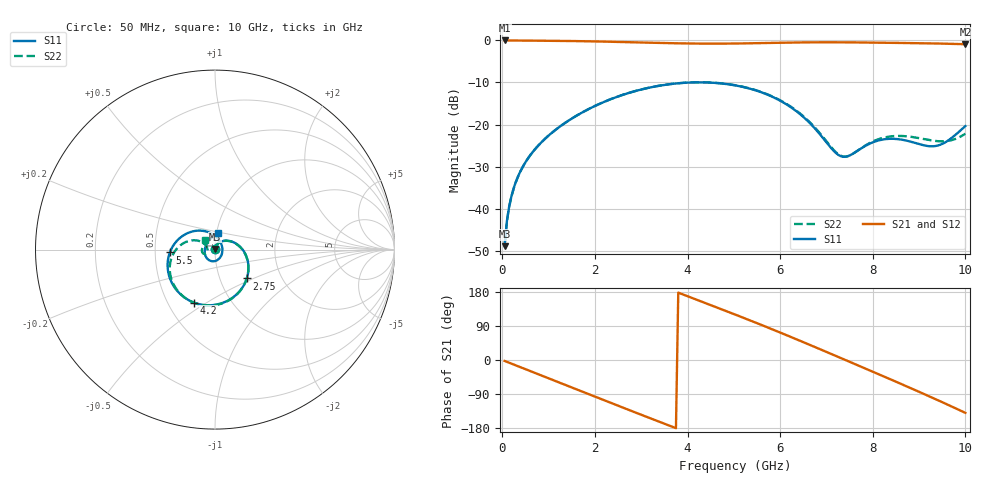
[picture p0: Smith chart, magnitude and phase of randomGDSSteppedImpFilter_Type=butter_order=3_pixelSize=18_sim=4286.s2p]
! freq	dB(S11)	phase(S11)	dB(S12)	phase(S12)
!  dB(S21)	phase(S21)	dB(S22)	phase(S22)
!S-par simulation data
#  GHz  S  DB  R 50
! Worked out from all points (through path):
!   200 points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, 50 MHz to 10 GHz, reference 50 ohm
!   highest |S21| = -0.01 dB at 50 MHz (marker M1); lowest = -0.9 dB at 10 GHz (marker M2)
!   group delay of S21, straight-line fit = 137 ps
!   lowest |S11| = -48.9 dB at 50 MHz (marker M3), VSWR 1.01, Z = 50.1 + j0.352 ohm
!   |S11| at or under -10 dB: start of sweep to 4.068 GHz; 4.439 GHz to end of sweep
!   |S22| runs from -48.5 to -9.9 dB; largest |S21 - S12| = 0
!   S11 on the Smith chart (normalised r, x): 50 MHz: 1.00, +0.01; 2.75 GHz: 1.34, -0.46; 4.2 GHz: 0.67, -0.44; 5.5 GHz: 0.60, -0.02; 10 GHz: 1.02, +0.19
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0.05  -48.91 79.1  -0.01 -2.5  -0.01 -2.5  -48.54 80.0
0.1  -42.88 80.7  -0.01 -4.9  -0.01 -4.9  -42.90 80.6
0.2  -36.90 77.9  -0.02 -9.7  -0.02 -9.7  -36.99 77.9
0.45  -29.89 67.4  -0.04 -21.8  -0.04 -21.8  -29.91 67.1
1.15  -21.26 34.9  -0.10 -55.6  -0.10 -55.6  -21.25 34.1
1.75  -16.98 6.1  -0.18 -84.5  -0.18 -84.5  -16.97 5.3
2.25  -14.37 -18.1  -0.29 -108.6  -0.29 -108.6  -14.36 -18.7
2.75  -12.42 -42.2  -0.42 -132.6  -0.42 -132.6  -12.41 -42.4
3.4  -10.76 -73.4  -0.60 -163.4  -0.60 -163.4  -10.74 -72.6
3.8  -10.19 -92.5  -0.69 177.8  -0.69 177.8  -10.17 -90.9
4.2  -9.96 -111.6  -0.75 159.0  -0.75 159.0  -9.94 -108.9
5.05  -10.73 -153.1  -0.73 118.9  -0.73 118.9  -10.69 -146.6
5.5  -11.97 -176.4  -0.65 97.2  -0.65 97.2  -11.91 -166.3
6.1  -14.95 149.3  -0.53 67.5  -0.53 67.5  -14.84 169.0
6.7  -20.32 105.7  -0.45 36.8  -0.45 36.8  -20.12 151.3
7.35  -27.65 9.9  -0.45 3.1  -0.45 3.1  -27.57 177.9
7.85  -25.01 -67.5  -0.50 -23.0  -0.50 -23.0  -24.91 -156.1
8.35  -23.39 -111.8  -0.56 -49.3  -0.56 -49.3  -22.87 -166.5
8.8  -24.01 -149.5  -0.63 -73.2  -0.63 -73.2  -22.88 176.6
9.2  -25.12 167.6  -0.69 -94.8  -0.69 -94.8  -23.64 161.7
9.55  -24.32 122.8  -0.77 -114.1  -0.77 -114.1  -23.97 151.1
10  -20.36 79.1  -0.91 -139.5  -0.91 -139.5  -22.18 137.5
